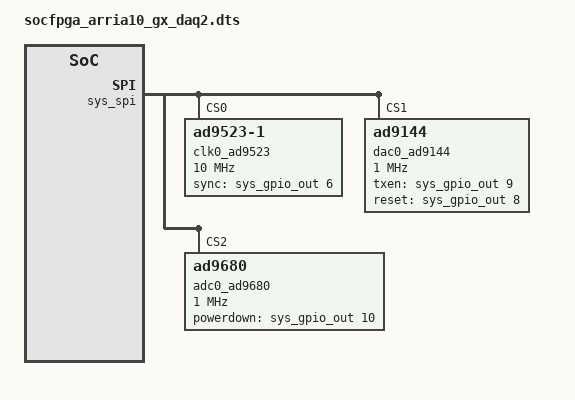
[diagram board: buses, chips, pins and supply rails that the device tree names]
// SPDX-License-Identifier: GPL-2.0
/*
 * Complete Radio Card platform containing AD9371
 * Link: https://wiki.analog.com/resources/eval/user-guides/mykonos/quickstart
 *
 * hdl_project: <adrv9371x/a10gx>
 * board_revision: <A>
 *
 * Copyright 2016-2019 Analog Devices Inc.
 */
/dts-v1/;

#include <dt-bindings/iio/frequency/ad9528.h>
#include "socfpga_arria10_gx.dtsi"

/ {
	clocks {

		dma_clk: dma_clk {
			#clock-cells = <0>;
			compatible = "fixed-clock";
			clock-frequency = <226652000>;
			clock-output-names = "dma_clock";
		};
	};

	sopc0: sopc {
		

		sys_spi: spi@10050ca0 {
			compatible = "altr,spi-1.0";
			reg = <0x10050ca0 0x00000020>;
			interrupt-parent = <&sys_cpu>;
			interrupts = <7>;

			#address-cells = <1>;
			#size-cells = <0>;

			clk0_ad9523: ad9523-1@0 {
				#address-cells = <1>;
				#size-cells = <0>;
				#clock-cells = <1>;
				compatible = "ad9523-1";
				reg = <0>;

				sync-gpios = <&sys_gpio_out 6 0>;

				spi-max-frequency = <10000000>;
				clock-output-names = "ad9523-1_out0", "ad9523-1_out1", "ad9523-1_out2", "ad9523-1_out3", "ad9523-1_out4", "ad9523-1_out5", "ad9523-1_out6", "ad9523-1_out7", "ad9523-1_out8", "ad9523-1_out9", "ad9523-1_out10", "ad9523-1_out11", "ad9523-1_out12", "ad9523-1_out13";
				adi,vcxo-freq = <125000000>;
				adi,spi-3wire-enable;
				adi,pll1-bypass-enable;
				adi,osc-in-diff-enable;

				adi,pll2-charge-pump-current-nA = <413000>;
				adi,pll2-ndiv-a-cnt = <0>;
				adi,pll2-ndiv-b-cnt = <6>;

				adi,pll2-r2-div = <1>;
				adi,pll2-vco-diff-m1 = <3>;

				adi,rpole2 = <0>;
				adi,rzero = <7>;
				adi,cpole1 = <2>;

				ad9523_0_c1:channel@1 {
					reg = <1>;
					adi,extended-name = "ADC_CLK";
					adi,driver-mode = <3>;
					adi,divider-phase = <1>;
					adi,channel-divider = <1>;
				};
				ad9523_0_c4:channel@4 {
					reg = <4>;
					adi,extended-name = "ADC_CLK_FMC";
					adi,driver-mode = <3>;
					adi,divider-phase = <1>;
					adi,channel-divider = <2>;
				};

				ad9523_0_c5:channel@5 {
					reg = <5>;
					adi,extended-name = "ADC_SYSREF";
					adi,driver-mode = <3>;
					adi,divider-phase = <1>;
					adi,channel-divider = <128>;
				};

				ad9523_0_c6:channel@6 {
					reg = <6>;
					adi,extended-name = "CLKD_ADC_SYSREF";
					adi,driver-mode = <3>;
					adi,divider-phase = <1>;
					adi,channel-divider = <128>;
				};

				ad9523_0_c7:channel@7 {
					reg = <7>;
					adi,extended-name = "CLKD_DAC_SYSREF";
					adi,driver-mode = <3>;
					adi,divider-phase = <1>;
					adi,channel-divider = <128>;
				};

				ad9523_0_c8:channel@8 {
					reg = <8>;
					adi,extended-name = "DAC_SYSREF";
					adi,driver-mode = <3>;
					adi,divider-phase = <1>;
					adi,channel-divider = <128>;
				};

				ad9523_0_c9:channel@9 {
					reg = <9>;
					adi,extended-name = "FMC_DAC_REF_CLK";
					adi,driver-mode = <3>;
					adi,divider-phase = <1>;
					adi,channel-divider = <2>;
				};

				ad9523_0_c13:channel@13 {
					reg = <13>;
					adi,extended-name = "DAC_CLK";
					adi,driver-mode = <3>;
					adi,divider-phase = <1>;
					adi,channel-divider = <1>;
				};
			};

			dac0_ad9144: ad9144@1 {
				#address-cells = <1>;
				#size-cells = <0>;
				compatible = "ad9144";
				reg = <1>;
				spi-max-frequency = <1000000>;
				clocks = <&axi_ad9144_jesd>, <&clk0_ad9523 13>, <&clk0_ad9523 8>;
				clock-names = "jesd_dac_clk", "dac_clk", "dac_sysref";
				txen-gpios = <&sys_gpio_out 9 0>;
				reset-gpios = <&sys_gpio_out 8 0>;
			};

			adc0_ad9680: ad9680@2 {
				#address-cells = <1>;
				#size-cells = <0>;
				compatible = "ad9680";
				reg = <2>;
				spi-max-frequency = <1000000>;
				clocks = <&axi_ad9680_jesd>, <&clk0_ad9523 1>, <&clk0_ad9523 5>;
				clock-names = "jesd_adc_clk", "adc_clk", "adc_sysref";
				powerdown-gpios = <&sys_gpio_out 10 0>;
			};
		};

		tx_dma: tx-dmac@1006c000 {
			compatible = "adi,axi-dmac-1.00.a";
			reg = <0x1006c000 0x4000>;
			#dma-cells = <1>;
			interrupt-parent = <&sys_cpu>;
			interrupts = <11>;
			clocks = <&dma_clk>;

			dma-channel {
				adi,source-bus-width = <128>;
				adi,destination-bus-width = <128>;
				adi,type = <1>;
				adi,cyclic;
			};
		};

		rx_dma: rx-dmac@1007c000 {
			compatible = "adi,axi-dmac-1.00.a";
			reg = <0x1007c000 0x4000>;
			#dma-cells = <1>;
			interrupt-parent = <&sys_cpu>;
			interrupts = <10>;
			clocks = <&dma_clk>;

			dma-channel {
				adi,source-bus-width = <128>;
				adi,destination-bus-width = <128>;
				adi,type = <0>;
			};
		};

		axi_ad9144_core: axi-ad9144-hpc@10080000 {
			compatible = "adi,axi-ad9144-1.0";
			reg = <0x10080000 0x4000>;
			dmas = <&tx_dma 0>;
			dma-names = "tx";
			spibus-connected = <&dac0_ad9144>;
			adi,axi-pl-fifo-enable;
		};

		axi_ad9680_core: axi-ad9680-hpc@10084000 {
			compatible = "adi,axi-ad9680-1.0";
			reg = <0x10084000 0x10000>;
			dmas = <&rx_dma 0>;
			dma-names = "rx";
			spibus-connected = <&adc0_ad9680>;
		};



		axi_ad9144_jesd: axi-jesd204-tx@10060000 {
			compatible = "adi,axi-jesd204-tx-1.0";
			reg = <0x10060000 0x4000>;

			interrupt-parent = <&sys_cpu>;
			interrupts = <9>;

			clocks = <&sys_clk>, <&tx_device_clk_pll>, <&axi_ad9144_xcvr>;
			clock-names = "s_axi_aclk", "device_clk", "lane_clk";

			adi,octets-per-frame = <1>;
			adi,frames-per-multiframe = <32>;
			adi,converter-resolution = <16>;
			adi,bits-per-sample = <16>;
			adi,converters-per-device = <2>;

			#clock-cells = <0>;
			clock-output-names = "jesd_dac_lane_clk";
		};


		axi_ad9680_jesd: axi-jesd204-rx@10070000 {
			compatible = "adi,axi-jesd204-rx-1.0";
			reg = <0x10070000 0x4000>;

			interrupt-parent = <&sys_cpu>;
			interrupts = <8>;

			clocks = <&sys_clk>, <&rx_device_clk_pll>, <&axi_ad9680_xcvr>;
			clock-names = "s_axi_aclk", "device_clk", "lane_clk";

			adi,octets-per-frame = <1>;
			adi,frames-per-multiframe = <32>;

			#clock-cells = <0>;
			clock-output-names = "jesd_adc_lane_clk";
		};

		axi_ad9144_xcvr: axi-ad9144-xcvr@10064000 {
			compatible = "adi,altera-adxcvr-1.00.a";
			reg = <0x10064000 0x0001000>,
				  <0x10066000 0x00001000>,
				  <0x10068000 0x00001000>,
				  <0x10069000 0x00001000>,
				  <0x1006a000 0x00001000>,
				  <0x1006b000 0x00001000>;
			reg-names = "adxcvr", "atx-pll", "adxcfg-0", "adxcfg-1", "adxcfg-2", "adxcfg-3";

			#clock-cells = <0>;
			clocks = <&clk0_ad9523 9>, <&tx_device_clk_pll>, <&clk0_ad9523 7>;
			clock-names = "ref", "link", "sysref";
			clock-output-names = "jesd204_tx_lane_clock";
		};

		axi_ad9680_xcvr: axi-ad9680-xcvr@10074000 {
			compatible = "adi,altera-adxcvr-1.00.a";
			reg = <0x10074000 0x00001000>,
				  <0x10078000 0x00001000>,
				  <0x10079000 0x00001000>,
				  <0x1007a000 0x00001000>,
				  <0x1007b000 0x00001000>;
			reg-names = "adxcvr", "adxcfg-0", "adxcfg-1", "adxcfg-2", "adxcfg-3";

			#clock-cells = <0>;
			clocks = <&clk0_ad9523 4>, <&rx_device_clk_pll>, <&clk0_ad9523 6>;
			clock-names = "ref", "link", "sysref";
			clock-output-names = "jesd204_rx_lane_clock";
		};

		tx_device_clk_pll: altera-a10-fpll@10065000 {
			compatible = "altr,a10-fpll";
			reg = <0x10065000 0x1000>;
			#clock-cells = <0>;
			clocks = <&clk0_ad9523 9>;
			clock-output-names = "jesd204_tx_link_clock";
		};

		rx_device_clk_pll: altera-a10-fpll@10075000 {
			compatible = "altr,a10-fpll";
			reg = <0x10075000 0x1000>;
			#clock-cells = <0>;
			clocks = <&clk0_ad9523 4>;
			clock-output-names = "jesd204_rx_link_clock";
		};
	};
};
